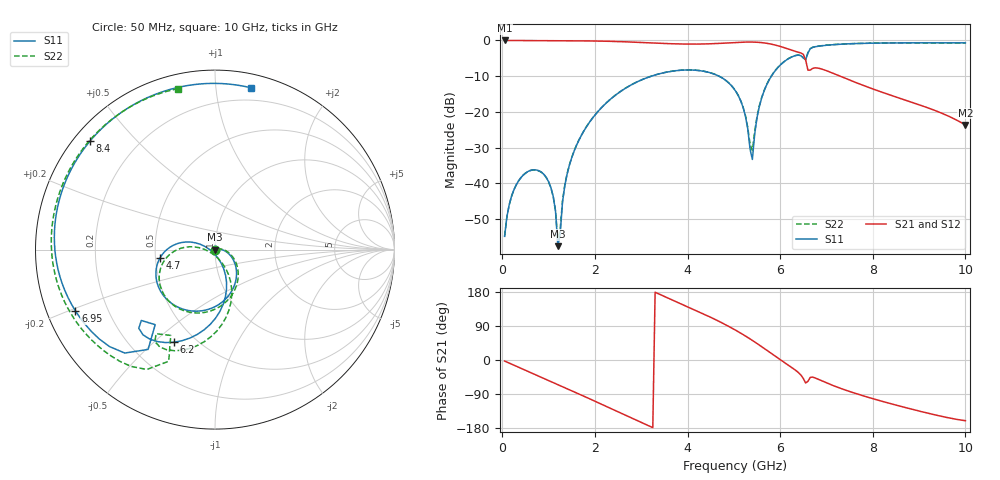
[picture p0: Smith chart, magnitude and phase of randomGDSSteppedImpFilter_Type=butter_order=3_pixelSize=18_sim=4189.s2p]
! freq	dB(S11)	phase(S11)	dB(S12)	phase(S12)
!  dB(S21)	phase(S21)	dB(S22)	phase(S22)
!S-par simulation data
#  GHz  S  DB  R 50
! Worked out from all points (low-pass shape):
!   200 points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, 50 MHz to 10 GHz, reference 50 ohm
!   highest |S21| = 0.00 dB at 50 MHz (marker M1); lowest = -23.7 dB at 10 GHz (marker M2)
!   |S21| within 3 dB of the highest: start of sweep to 6.316 GHz
!   lowest |S11| = -57.6 dB at 1.2 GHz (marker M3), VSWR 1.00, Z = 49.9 - j0.00433 ohm
!   |S11| at or under -10 dB: start of sweep to 3.221 GHz; 4.676 GHz to 5.811 GHz (1.135 GHz wide, 21.7 % of centre)
!   |S22| runs from -56.3 to -0.7 dB; largest |S21 - S12| = 0
!   S11 on the Smith chart (normalised r, x): 50 MHz: 1.00, -0.00; 4.7 GHz: 0.53, -0.06; 6.2 GHz: 0.38, -0.58; 6.95 GHz: 0.08, -0.21; 8.4 GHz: 0.05, +0.37; 10 GHz: 0.10, +1.24
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0.05  -54.89 -77.0  -0.00 -2.7  -0.00 -2.7  -54.88 -77.0
0.3  -40.49 -104.2  -0.03 -16.2  -0.03 -16.2  -40.49 -104.1
0.75  -36.34 -131.3  -0.05 -40.4  -0.05 -40.4  -36.36 -131.4
1.05  -41.25 -149.4  -0.07 -56.6  -0.07 -56.6  -41.30 -151.4
1.15  -47.87 -157.5  -0.07 -62.0  -0.07 -62.0  -47.87 -164.8
1.2  -57.64 -178.1  -0.07 -64.7  -0.07 -64.7  -56.28 162.7
1.4  -37.45 14.5  -0.09 -75.6  -0.09 -75.6  -37.33 19.8
1.75  -25.62 -6.2  -0.12 -94.8  -0.12 -94.8  -25.58 -2.6
2.65  -13.47 -57.4  -0.38 -145.1  -0.38 -145.1  -13.46 -53.3
3.4  -9.32 -99.3  -0.80 173.3  -0.80 173.3  -9.31 -94.1
4.7  -10.16 -171.2  -0.82 100.7  -0.82 100.7  -10.14 -163.2
5.05  -14.43 168.0  -0.57 77.9  -0.57 77.9  -14.40 177.8
5.25  -21.19 160.1  -0.46 63.4  -0.46 63.4  -21.04 173.1
5.4  -33.35 -106.9  -0.46 51.7  -0.46 51.7  -30.78 -104.3
5.65  -14.25 -70.6  -0.69 31.0  -0.69 31.0  -14.16 -63.8
6.2  -4.96 -113.9  -2.51 -15.7  -2.51 -15.7  -4.93 -104.0
6.5  -4.89 -136.1  -3.90 -48.9  -3.90 -48.9  -4.85 -125.0
6.7  -1.96 -137.4  -7.84 -45.1  -7.84 -45.1  -1.92 -125.7
6.95  -1.42 -156.4  -8.24 -57.8  -8.24 -57.8  -1.39 -143.8
8.35  -0.71 141.0  -15.18 -114.0  -15.18 -114.0  -0.70 159.2
8.4  -0.70 139.1  -15.40 -115.7  -15.40 -115.7  -0.69 157.5
10  -0.69 77.5  -23.68 -160.1  -23.68 -160.1  -0.72 103.1
